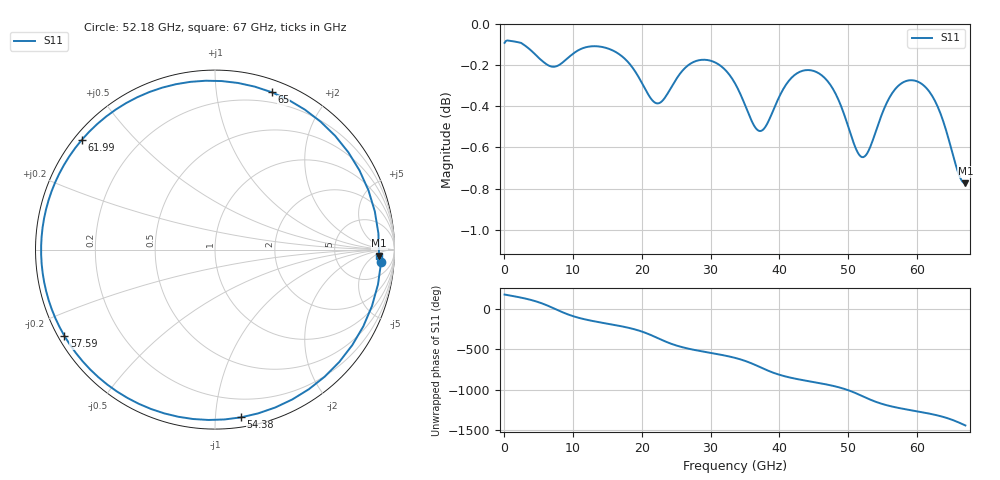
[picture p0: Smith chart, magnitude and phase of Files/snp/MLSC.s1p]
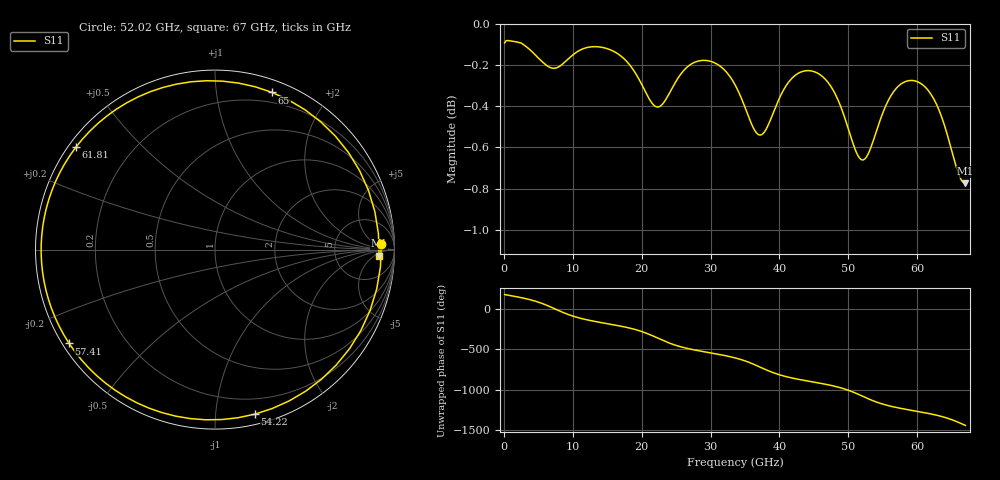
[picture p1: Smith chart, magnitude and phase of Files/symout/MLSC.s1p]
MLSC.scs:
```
simulator lang=local
global 0
NPORT0 1 0 nport file="E:\Saves\pycharm\HowToElementBuilder\Code\Files\snp\MLSC.s1p"
PORT0 1 0 port r=50 num=1 type=sine rptstart=1 rpttimes=0
SPSweep sp start=100000000 stop=67000000000 step=669000000.0 file="E:\Saves\pycharm\HowToElementBuilder\Code\Files\symout\MLSC.s1p"
DEFAULT_OPTIONS options tnom=27 temp=27  acout=0 fast_spice=0 reltol=1.000000e-003 rawfmt=nutascii
```
Files/snp/MLSC.s1p:
! Created with skrf (http://scikit-rf.org).
# Hz S RI R 50.0
!freq ReS11 ImS11
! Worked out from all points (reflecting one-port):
!   335 points, 100 MHz to 67 GHz, reference 50 ohm
!   lowest |S11| = -0.8 dB at 67 GHz (marker M1), VSWR 22.45, Z = 953 - j401 ohm
!   phase of S11 starts at 178 deg and turns -1621 deg over the sweep
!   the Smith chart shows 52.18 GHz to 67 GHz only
!   S11 on the Smith chart (normalised r, x): 52.18 GHz: 13, -13; 54.38 GHz: 0.07, -1.17; 57.59 GHz: 0.02, -0.27; 61.99 GHz: 0.02, +0.36; 65 GHz: 0.11, +1.42; 67 GHz: 19, -8
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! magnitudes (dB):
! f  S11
! 100 MHz  -0.1
! 7.11 GHz  -0.2
! 15.32 GHz  -0.1
! 22.53 GHz  -0.4
! 29.94 GHz  -0.2
! 37.36 GHz  -0.5
! 41.56 GHz  -0.3
! 44.77 GHz  -0.2
! 52.18 GHz  -0.6
! 54.38 GHz  -0.5
! 57.59 GHz  -0.3
! 61.99 GHz  -0.3
! 65 GHz  -0.6
! 67 GHz  -0.8
Files/symout/MLSC.s1p:
! Touchstone Ver. 1.0
! Number of ports is 1
# Hz  S RI  R  50
! SCATTERING PARAMETERS  :
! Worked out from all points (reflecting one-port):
!   336 points, 100 MHz to 67 GHz, reference 50 ohm
!   lowest |S11| = -0.8 dB at 67 GHz (marker M1), VSWR 22.45, Z = 953 - j401 ohm
!   phase of S11 starts at 178 deg and turns -1621 deg over the sweep
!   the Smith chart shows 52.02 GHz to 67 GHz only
!   S11 on the Smith chart (normalised r, x): 52.02 GHz: 23, +9; 54.22 GHz: 0.08, -1.27; 57.41 GHz: 0.02, -0.29; 61.81 GHz: 0.02, +0.33; 65 GHz: 0.11, +1.42; 67 GHz: 19, -8
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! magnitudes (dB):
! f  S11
! 100 MHz  -0.1
! 7.09 GHz  -0.2
! 15.48 GHz  -0.1
! 22.47 GHz  -0.4
! 30.06 GHz  -0.2
! 37.24 GHz  -0.5
! 41.44 GHz  -0.3
! 44.83 GHz  -0.2
! 52.02 GHz  -0.7
! 54.22 GHz  -0.5
! 57.41 GHz  -0.3
! 61.81 GHz  -0.3
! 65 GHz  -0.6
! 67 GHz  -0.8
